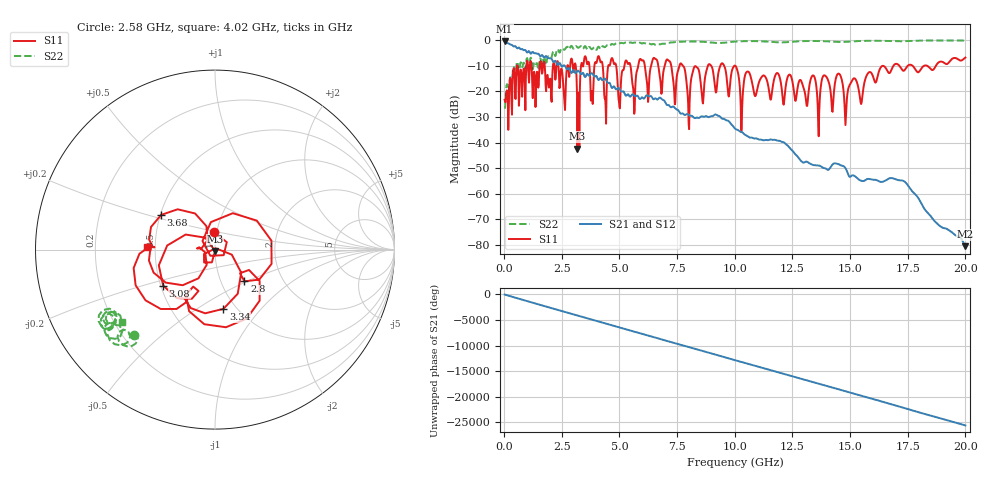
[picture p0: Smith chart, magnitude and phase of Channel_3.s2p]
! Created Sun Jun 24 21:02:49 2012
# hz S ma R 100
! 2 Port Network Data from SP1.SP block
! freq  magS11  angS11  magS21  angS21  magS12  angS12  magS22  angS22
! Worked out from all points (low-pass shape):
!   1000 points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, 20 MHz to 20 GHz, reference 100 ohm
!   highest |S21| = -0.45 dB at 20 MHz (marker M1); lowest = -80.4 dB at 20 GHz (marker M2)
!   |S21| within 3 dB of the highest: start of sweep to 702.4 MHz
!   lowest |S11| = -42.3 dB at 3.18 GHz (marker M3), VSWR 1.02, Z = 100 - j1.53 ohm
!   |S11| at or under -10 dB: start of sweep to 558.2 MHz; 7.748 GHz to 8.836 GHz (1.088 GHz wide, 13.1 % of centre); 10.02 GHz to 16.88 GHz (6.858 GHz wide, 51 % of centre)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
!   |S22| runs from -26.5 to -0.1 dB; largest |S21 - S12| = 0.0002
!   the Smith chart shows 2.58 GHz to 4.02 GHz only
!   S11 on the Smith chart (normalised r, x): 2.58 GHz: 0.97, +0.19; 2.8 GHz: 1.29, -0.48; 3.08 GHz: 0.52, -0.24; 3.34 GHz: 0.87, -0.65; 3.68 GHz: 0.51, +0.22; 4.02 GHz: 0.45, +0.02
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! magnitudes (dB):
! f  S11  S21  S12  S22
! 20 MHz  -23.3  -0.4  -0.4  -26.3
! 1.08 GHz  -16.6  -4.3  -4.3  -13.2
! 2.58 GHz  -20.1  -9.9  -9.9  -3.6
! 2.8 GHz  -12.4  -11.0  -11.0  -3.4
! 3.08 GHz  -9.1  -12.8  -12.8  -2.3
! 3.18 GHz  -42.3  -12.0  -12.0  -2.9
! 3.34 GHz  -9.5  -13.3  -13.3  -2.4
! 3.36 GHz  -8.9  -13.2  -13.2  -2.6
! 3.68 GHz  -9.0  -13.9  -13.9  -2.7
! 4.02 GHz  -8.4  -14.3  -14.3  -3.6
! 4.38 GHz  -22.4  -15.1  -15.1  -2.7
! 4.64 GHz  -7.5  -18.2  -18.2  -1.7
! 5 GHz  -26.1  -19.0  -19.0  -1.3
! 6.68 GHz  -9.8  -23.0  -23.0  -1.6
! 7.72 GHz  -9.7  -28.6  -28.6  -0.6
! 8 GHz  -32.6  -29.1  -29.2  -0.5
! 10.02 GHz  -10.0  -34.6  -34.6  -0.6
! 10.3 GHz  -34.5  -35.9  -35.9  -0.4
! 13.34 GHz  -14.2  -48.5  -48.6  -0.3
! 14.82 GHz  -29.9  -50.3  -50.3  -0.7
! 16.68 GHz  -12.8  -54.0  -54.1  -0.4
! 20 GHz  -6.8  -80.4  -80.5  -0.2
